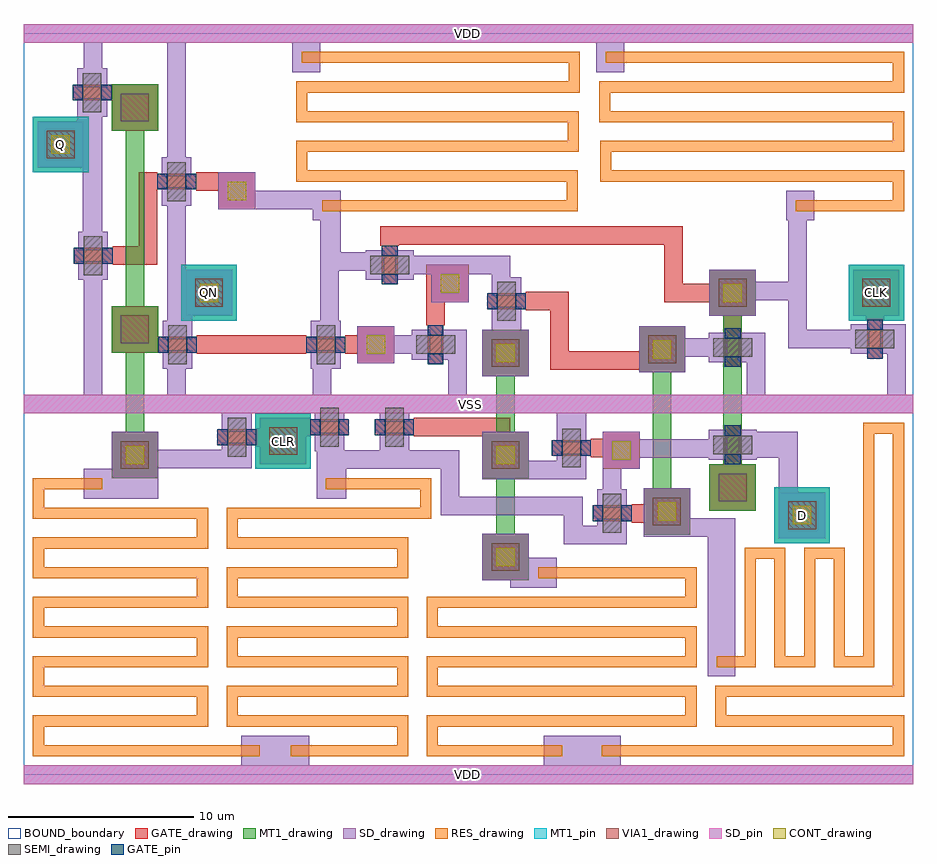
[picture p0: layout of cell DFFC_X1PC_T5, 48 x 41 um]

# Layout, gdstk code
from math import pi, radians
import gdstk
lib = gdstk.Library(unit=1e-6, precision=1e-09)
def R(c, l, rs):  # rectangles x0, y0, x1, y1
    for r in rs: c.add(gdstk.rectangle(r[:2], r[2:], *l))
def A(c, l, x, y, w, h, nx, ny, dx, dy):  # array of equal rectangles
    R(c, l, [(x+i*dx, y+j*dy, x+i*dx+w, y+j*dy+h) for i in range(nx) for j in range(ny)])
def P(c, l, *ps):  # polygons
    for p in ps: c.add(gdstk.Polygon(p, *l))
RES_drawing = (1, 0)
SEMI_drawing = (3, 0)
SD_drawing = (10, 0)
SD_pin = (10, 3)
GATE_drawing = (11, 0)
GATE_pin = (11, 3)
MT1_drawing = (20, 0)
MT1_pin = (20, 3)
CONT_drawing = (30, 0)
VIA1_drawing = (41, 0)
BOUND_boundary = (150, 5)

nch_cdns_772544920610 = lib.new_cell('nch_CDNS_772544920610')
R(nch_cdns_772544920610, SEMI_drawing, [(-1.05,-0.5,1.05,0.5)])
R(nch_cdns_772544920610, SD_drawing, [(-1.3,-0.8,-0.3,0.8), (0.3,-0.8,1.3,0.8)])
R(nch_cdns_772544920610, GATE_drawing, [(-0.425,-1.05,0.425,1.05)])
R(nch_cdns_772544920610, GATE_pin, [(-0.425,-1.05,0.425,-0.5), (-0.425,0.5,0.425,1.05)])

sd_gate_cdns_77254492061 = lib.new_cell('SD_GATE_CDNS_772544920610')
R(sd_gate_cdns_77254492061, SD_drawing, [(-1.25,-1.25,1.25,1.25)])
R(sd_gate_cdns_77254492061, GATE_drawing, [(-1.25,-1.25,1.25,1.25)])
R(sd_gate_cdns_77254492061, CONT_drawing, [(-0.5,-0.5,0.5,0.5)])

gate_mt1_cdns_7725449206 = lib.new_cell('GATE_MT1_CDNS_772544920611')
R(gate_mt1_cdns_7725449206, GATE_drawing, [(-1.25,-1.25,1.25,1.25)])
R(gate_mt1_cdns_7725449206, MT1_drawing, [(-1.5,-1.5,1.5,1.5)])
R(gate_mt1_cdns_7725449206, VIA1_drawing, [(-0.75,-0.75,0.75,0.75)])

c_gate_mt1_cdns_7725449206 = lib.new_cell('GATE_MT1_CDNS_772544920612')
R(c_gate_mt1_cdns_7725449206, GATE_drawing, [(-1.25,-1.25,1.25,1.25)])
R(c_gate_mt1_cdns_7725449206, MT1_drawing, [(-1.25,-1.25,1.25,1.25)])
R(c_gate_mt1_cdns_7725449206, VIA1_drawing, [(-0.75,-0.75,0.75,0.75)])

c_sd_gate_cdns_77254492061 = lib.new_cell('SD_GATE_CDNS_772544920613')
R(c_sd_gate_cdns_77254492061, SD_drawing, [(-1,-1,1,1)])
R(c_sd_gate_cdns_77254492061, GATE_drawing, [(-1,-1,1,1)])
R(c_sd_gate_cdns_77254492061, CONT_drawing, [(-0.5,-0.5,0.5,0.5)])

dffc_x1pc_t5 = lib.new_cell('DFFC_X1PC_T5')
A(dffc_x1pc_t5, SD_drawing, 0, -0.5, 48, 1, 1, 3, 0, 20)
R(dffc_x1pc_t5, SD_drawing, [(11.75,0.5,13.85,2.1), (13.55,0.5,15.4,2.1), (28.05,0.5,29.55,2.1), (29.55,0.5,32.2,2.1), (3.25,14.9,7.25,16.5), (15.8,14.9,17.4,16.5), (31.25,15.4,32.25,17.3), (24.75,15.95,30.35,16.95), (15.8,16.5,17.2,17.45), (31.25,17.1,36.95,18.1), (28.75,18.925,30.35,19.5), (3.25,20.5,4.25,26.7), (7.75,20.5,8.75,21.95), (15.6,20.5,16.6,21.9), (46.6,20.5,47.6,24.3), (25.25,23.9,26.85,24.35), (15.6,29.9,17.1,31.5), (41.15,29.9,42.65,31.5), (7.75,33.3,8.75,39.5), (14.5,37.9,16,39.5), (30.9,37.9,32.4,39.5), (3.25,38.1,4.25,39.5)])
P(dffc_x1pc_t5, SD_drawing, [(41.75,15.25),(41.75,18.5),(39.55,18.5),(39.55,17.1),(40.75,17.1),(40.75,15.25)],
  [(32.55,13.425),(30.15,13.425),(30.15,15),(23.5,15),(23.5,17.5),(15.8,17.5),(15.8,16.5),(22.5,16.5),(22.5,14),(29.15,14),(29.15,12.425),(32.55,12.425)],
  [(4.25,35.5),(2.9,35.5),(2.9,35.25),(3.2,35.25),(3.2,29.3),(4.25,29.3)],
  [(44.625,24),(42.25,24),(42.25,26.6),(38.35,26.6),(38.35,25.6),(41.25,25.6),(41.25,23),(44.625,23)],
  [(9.1,24.75),(8.75,24.75),(8.75,30.7),(7.75,30.7),(7.75,24.5),(9.1,24.5)],
  [(38.4,13.85),(35.95,13.85),(35.95,14.35),(33.45,14.35),(33.45,12.85),(36.9,12.85),(36.9,5.3),(38.4,5.3)],
  [(40,23.85),(39.55,23.85),(39.55,22.35),(39,22.35),(39,20.25),(40,20.25)],
  [(18.45,28.2),(17.1,28.2),(17.1,31.5),(12.5,31.5),(12.5,30.5),(16,30.5),(16,24.5),(17,24.5),(17,27.2),(18.45,27.2)],
  [(28.75,11.7),(27.25,11.7),(27.25,12.25),(26,12.25),(26,11.25),(26.25,11.25),(26.25,10.1),(28.75,10.1)],
  [(12.3,16.9),(10.7,16.9),(10.7,17.525),(5.9,17.525),(5.9,16.525),(12.3,16.525)])
A(dffc_x1pc_t5, SD_pin, 0, -0.5, 48, 1, 1, 3, 0, 20)
R(dffc_x1pc_t5, GATE_drawing, [(12.55,17.7,12.75,18.7), (15.25,18.25,15.45,19.25), (7.15,22.825,7.3,23.575), (4.7,36.425,4.85,37.175)])
P(dffc_x1pc_t5, GATE_drawing, [(46.425,24.65),(45.425,24.65),(45.425,24.55),(45.55,24.55),(45.55,24.5),(46.3,24.5),(46.3,24.55),(46.425,24.55)],
  [(32.9,13.6),(32.9,14.6),(32.8,14.6),(32.8,14.475),(32.75,14.475),(32.75,13.725),(32.8,13.725),(32.8,13.6)],
  [(37.725,16.65),(38.725,16.65),(38.725,16.75),(38.625,16.75),(38.625,16.8),(37.875,16.8),(37.875,16.75),(37.725,16.75)],
  [(30.7,17.125),(30.7,18.125),(30.6,18.125),(30.6,18),(30.55,18),(30.55,17.25),(30.6,17.25),(30.6,17.125)],
  [(21.15,18.25),(21.15,19.25),(21.05,19.25),(21.05,19.125),(21,19.125),(21,18.375),(21.05,18.375),(21.05,18.25)],
  [(15.35,18.25),(15.35,19.25),(15.45,19.25),(15.45,19.125),(15.5,19.125),(15.5,18.375),(15.45,18.375),(15.45,18.25)],
  [(12.65,17.7),(12.65,18.7),(12.55,18.7),(12.55,18.575),(12.5,18.575),(12.5,17.825),(12.55,17.825),(12.55,17.7)],
  [(38.75,24.2),(37.75,24.2),(37.75,24.1),(37.875,24.1),(37.875,24.05),(38.625,24.05),(38.625,24.1),(38.75,24.1)],
  [(27.2,25.05),(27.2,26.05),(27.1,26.05),(27.1,25.925),(27.05,25.925),(27.05,25.175),(27.1,25.175),(27.1,25.05)],
  [(22.725,24.35),(21.725,24.35),(21.725,24.25),(21.85,24.25),(21.85,24.2),(22.6,24.2),(22.6,24.25),(22.725,24.25)],
  [(20.25,28.65),(19.25,28.65),(19.25,28.55),(19.375,28.55),(19.375,28.5),(20.125,28.5),(20.125,28.55),(20.25,28.55)],
  [(26.25,19.25),(21.15,19.25),(21.15,18.25),(25.25,18.25),(25.25,17.25),(26.25,17.25)],
  [(4.8,27.5),(7.2,27.5),(7.2,32.5),(6.2,32.5),(6.2,28.5),(4.8,28.5)],
  [(4.9,27.5),(4.9,28.5),(4.8,28.5),(4.8,28.375),(4.75,28.375),(4.75,27.625),(4.8,27.625),(4.8,27.5)],
  [(9.4,31.5),(9.4,32.5),(9.3,32.5),(9.3,32.375),(9.25,32.375),(9.25,31.625),(9.3,31.625),(9.3,31.5)],
  [(9.45,22.7),(9.45,23.7),(9.35,23.7),(9.35,23.575),(9.3,23.575),(9.3,22.825),(9.35,22.825),(9.35,22.7)],
  [(15.15,22.7),(15.15,23.7),(15.25,23.7),(15.25,23.575),(15.3,23.575),(15.3,22.825),(15.25,22.825),(15.25,22.7)],
  [(7.1,32.5),(7.1,31.525),(7.2,31.525),(7.2,31.625),(7.25,31.625),(7.25,32.375),(7.2,32.375),(7.2,32.5)],
  [(17.45,22.7),(17.45,23.7),(17.35,23.7),(17.35,23.575),(17.3,23.575),(17.3,22.825),(17.35,22.825),(17.35,22.7)])
R(dffc_x1pc_t5, MT1_drawing, [(40.5,12.5,43.5,15.5), (40.5,12.5,43.5,15.5), (40.5,12.5,43.5,15.5), (40.5,12.5,43.5,15.5), (40.5,12.5,43.5,15.5), (12.5,16.5,15.5,19.5), (12.5,16.5,15.5,19.5), (12.5,16.5,15.5,19.5), (12.5,16.5,15.5,19.5), (12.5,16.5,15.5,19.5), (8.5,24.5,11.5,27.5), (8.5,24.5,11.5,27.5), (8.5,24.5,11.5,27.5), (8.5,24.5,11.5,27.5), (8.5,24.5,11.5,27.5), (44.5,24.5,47.5,27.5), (44.5,24.5,47.5,27.5), (44.5,24.5,47.5,27.5), (44.5,24.5,47.5,27.5), (44.5,24.5,47.5,27.5), (0.5,32.5,3.5,35.5), (0.5,32.5,3.5,35.5)])
R(dffc_x1pc_t5, MT1_pin, [(40.5,12.5,43.5,15.5), (40.5,12.5,43.5,15.5), (40.5,12.5,43.5,15.5), (40.5,12.5,43.5,15.5), (40.5,12.5,43.5,15.5), (12.5,16.5,15.5,19.5), (12.5,16.5,15.5,19.5), (12.5,16.5,15.5,19.5), (12.5,16.5,15.5,19.5), (12.5,16.5,15.5,19.5), (8.5,24.5,11.5,27.5), (8.5,24.5,11.5,27.5), (8.5,24.5,11.5,27.5), (8.5,24.5,11.5,27.5), (8.5,24.5,11.5,27.5), (44.5,24.5,47.5,27.5), (44.5,24.5,47.5,27.5), (44.5,24.5,47.5,27.5), (44.5,24.5,47.5,27.5), (44.5,24.5,47.5,27.5), (0.5,32.5,3.5,35.5), (0.5,32.5,3.5,35.5)])
R(dffc_x1pc_t5, BOUND_boundary, [(0,0,48,40)])
dffc_x1pc_t5.add(gdstk.FlexPath([(18.8,23.2),(20.925,23.2)], 1, ends="flush", simple_path=True, layer=10, datatype=0))  # SD_drawing
dffc_x1pc_t5.add(gdstk.FlexPath([(36.95,23.05),(35.7,23.05)], 1, ends="flush", simple_path=True, layer=10, datatype=0))  # SD_drawing
dffc_x1pc_t5.add(gdstk.FlexPath([(25.75,26.65),(25.75,27.5),(21.05,27.5)], 1, ends="flush", simple_path=True, layer=10, datatype=0))  # SD_drawing
dffc_x1pc_t5.add(gdstk.FlexPath([(23.4,24),(23.4,20.5)], 1, ends="flush", simple_path=True, layer=10, datatype=0))  # SD_drawing
dffc_x1pc_t5.add(gdstk.FlexPath([(41.75,26.05),(41.75,30.2)], 1, ends="flush", simple_path=True, layer=10, datatype=0))  # SD_drawing
dffc_x1pc_t5.add(gdstk.FlexPath([(31.2,1.3),(47.2,1.3),(47.2,2.9),(37.6,2.9),(37.6,4.5),(47.2,4.5),(47.2,18.7),(45.6,18.7),(45.6,6.1),(44,6.1),(44,11.95),(42.4,11.95),(42.4,6.1),(40.8,6.1),(40.8,11.95),(39.2,11.95),(39.2,6.1),(37.4,6.1)], 0.6, ends="flush", simple_path=True, layer=1, datatype=0))  # RES_drawing
dffc_x1pc_t5.add(gdstk.FlexPath([(16.3,15.7),(21.7,15.7),(21.7,14.1),(11.25,14.1),(11.25,12.5),(20.45,12.5),(20.45,10.9),(11.25,10.9),(11.25,9.3),(20.45,9.3),(20.45,7.7),(11.25,7.7),(11.25,6.1),(20.45,6.1),(20.45,4.5),(11.25,4.5),(11.25,2.9),(20.45,2.9),(20.45,1.3),(14.4,1.3)], 0.6, ends="flush", simple_path=True, layer=1, datatype=0))  # RES_drawing
dffc_x1pc_t5.add(gdstk.FlexPath([(16,38.7),(29.7,38.7),(29.7,37.1),(15,37.1),(15,35.5),(29.65,35.5),(29.65,33.9),(15,33.9),(15,32.3),(29.6,32.3),(29.6,30.7),(17.1,30.7)], 0.6, ends=(1, 1), simple_path=True, layer=1, datatype=0))  # RES_drawing
dffc_x1pc_t5.add(gdstk.FlexPath([(32.4,38.7),(47.2,38.7),(47.2,37.1),(31.35,37.1),(31.35,35.5),(47.2,35.5),(47.2,33.9),(31.4,33.9),(31.4,32.3),(47.2,32.3),(47.2,30.7),(41.65,30.7)], 0.6, ends=(1, 0), simple_path=True, layer=1, datatype=0))  # RES_drawing
dffc_x1pc_t5.add(gdstk.FlexPath([(28.75,10.9),(36,10.9),(36,9.3),(22.05,9.3),(22.05,7.7),(36,7.7),(36,6.1),(22.05,6.1),(22.05,4.5),(36,4.5),(36,2.9),(22.05,2.9),(22.05,1.3),(28.05,1.3)], 0.6, ends=(1, 1), simple_path=True, layer=1, datatype=0))  # RES_drawing
dffc_x1pc_t5.add(gdstk.FlexPath([(12.75,1.3),(0.8,1.3),(0.8,2.9),(9.65,2.9),(9.65,4.5),(0.8,4.5),(0.8,6.1),(9.65,6.1),(9.65,7.7),(0.8,7.7),(0.8,9.3),(9.65,9.3),(9.65,10.9),(0.8,10.9),(0.8,12.5),(9.65,12.5),(9.65,14.1),(0.8,14.1),(0.8,15.7),(4.25,15.7)], 0.6, ends="flush", simple_path=True, layer=1, datatype=0))  # RES_drawing
dffc_x1pc_t5.add(gdstk.FlexPath([(18.8,23.2),(17.45,23.2)], 1, ends="flush", simple_path=True, layer=11, datatype=0))  # GATE_drawing
dffc_x1pc_t5.add(gdstk.FlexPath([(22.225,24.25),(22.225,27.5)], 1, ends="flush", simple_path=True, layer=11, datatype=0))  # GATE_drawing
dffc_x1pc_t5.add(gdstk.FlexPath([(27.15,25.55),(28.9,25.55)], 1, ends=(0, 0.5), simple_path=True, layer=11, datatype=0))  # GATE_drawing
dffc_x1pc_t5.add(gdstk.FlexPath([(28.9,22.35),(33.2,22.35)], 1, ends=(0.5, 0), simple_path=True, layer=11, datatype=0))  # GATE_drawing
dffc_x1pc_t5.add(gdstk.FlexPath([(28.9,25.55),(28.9,22.35)], 1, ends="extended", simple_path=True, layer=11, datatype=0))  # GATE_drawing
dffc_x1pc_t5.add(gdstk.FlexPath([(19.8,29.1),(35.05,29.1),(35.05,26),(38.25,26),(38.25,24.2)], 1, ends="flush", simple_path=True, layer=11, datatype=0))  # GATE_drawing
dffc_x1pc_t5.add(gdstk.FlexPath([(19.75,29.1),(19.8,29.1)], 1, ends=(0.5, 0), simple_path=True, layer=11, datatype=0))  # GATE_drawing
dffc_x1pc_t5.add(gdstk.FlexPath([(38.25,16.75),(38.25,15.4)], 1, ends="flush", simple_path=True, layer=11, datatype=0))  # GATE_drawing
dffc_x1pc_t5.add(gdstk.FlexPath([(9.3,32),(10.5,32)], 1, ends="flush", simple_path=True, layer=11, datatype=0))  # GATE_drawing
dffc_x1pc_t5.add(gdstk.FlexPath([(45.925,24.55),(45.925,24.75)], 1, ends="flush", simple_path=True, layer=11, datatype=0))  # GATE_drawing
dffc_x1pc_t5.add(gdstk.FlexPath([(30.6,17.625),(31.25,17.625)], 1, ends="flush", simple_path=True, layer=11, datatype=0))  # GATE_drawing
dffc_x1pc_t5.add(gdstk.FlexPath([(9.45,23.2),(15.15,23.2)], 1, ends="flush", simple_path=True, layer=11, datatype=0))  # GATE_drawing
dffc_x1pc_t5.add(gdstk.FlexPath([(32.8,14.1),(33.5,14.1)], 1, ends="flush", simple_path=True, layer=11, datatype=0))  # GATE_drawing
dffc_x1pc_t5.add(gdstk.FlexPath([(19.75,28.55),(19.75,29.1)], 1, ends=(0, 0.5), simple_path=True, layer=11, datatype=0))  # GATE_drawing
dffc_x1pc_t5.add(gdstk.FlexPath([(38.25,26),(38.25,15.35)], 1, ends="flush", simple_path=True, layer=20, datatype=0))  # MT1_drawing
dffc_x1pc_t5.add(gdstk.FlexPath([(34.45,22.95),(34.45,14)], 1, ends="flush", simple_path=True, layer=20, datatype=0))  # MT1_drawing
dffc_x1pc_t5.add(gdstk.FlexPath([(26,11.75),(26,11)], 1, ends="flush", simple_path=True, layer=20, datatype=0))  # MT1_drawing
dffc_x1pc_t5.add(gdstk.FlexPath([(26,17.25),(26,11.75)], 1, ends="flush", simple_path=True, layer=20, datatype=0))  # MT1_drawing
dffc_x1pc_t5.add(gdstk.FlexPath([(26,22.75),(26,17.25)], 1, ends="flush", simple_path=True, layer=20, datatype=0))  # MT1_drawing
dffc_x1pc_t5.add(gdstk.FlexPath([(6,36),(6,17.15)], 1, ends="flush", simple_path=True, layer=20, datatype=0))  # MT1_drawing
dffc_x1pc_t5.add(gdstk.Reference(nch_cdns_772544920610, (26.05,25.55), rotation=3*pi/2, x_reflection=True))
dffc_x1pc_t5.add(gdstk.Reference(nch_cdns_772544920610, (22.225,23.2), rotation=pi))
dffc_x1pc_t5.add(gdstk.Reference(nch_cdns_772544920610, (16.3,23.2), rotation=pi/2))
dffc_x1pc_t5.add(gdstk.Reference(nch_cdns_772544920610, (8.3,23.2), rotation=pi/2))
dffc_x1pc_t5.add(gdstk.Reference(nch_cdns_772544920610, (38.25,17.8)))
dffc_x1pc_t5.add(gdstk.Reference(nch_cdns_772544920610, (20,18.75), rotation=3*pi/2))
dffc_x1pc_t5.add(gdstk.Reference(nch_cdns_772544920610, (16.5,18.75), rotation=3*pi/2, x_reflection=True))
dffc_x1pc_t5.add(gdstk.Reference(nch_cdns_772544920610, (11.5,18.2), rotation=3*pi/2))
dffc_x1pc_t5.add(gdstk.Reference(nch_cdns_772544920610, (38.25,23.05), rotation=pi))
dffc_x1pc_t5.add(gdstk.Reference(nch_cdns_772544920610, (19.75,27.5)))
dffc_x1pc_t5.add(gdstk.Reference(nch_cdns_772544920610, (31.75,14.1), rotation=pi/2))
dffc_x1pc_t5.add(gdstk.Reference(nch_cdns_772544920610, (29.55,17.625), rotation=3*pi/2))
dffc_x1pc_t5.add(gdstk.Reference(nch_cdns_772544920610, (45.925,23.5), rotation=pi, x_reflection=True))
dffc_x1pc_t5.add(gdstk.Reference(nch_cdns_772544920610, (3.75,28), rotation=pi/2))
dffc_x1pc_t5.add(gdstk.Reference(nch_cdns_772544920610, (8.25,32), rotation=pi/2))
dffc_x1pc_t5.add(gdstk.Reference(nch_cdns_772544920610, (3.7,36.8), rotation=pi/2))
dffc_x1pc_t5.add(gdstk.Reference(sd_gate_cdns_77254492061, (34.45,22.95)))
dffc_x1pc_t5.add(gdstk.Reference(sd_gate_cdns_77254492061, (26,22.75)))
dffc_x1pc_t5.add(gdstk.Reference(sd_gate_cdns_77254492061, (2,34)))
dffc_x1pc_t5.add(gdstk.Reference(sd_gate_cdns_77254492061, (10,26)))
dffc_x1pc_t5.add(gdstk.Reference(sd_gate_cdns_77254492061, (42,14)))
dffc_x1pc_t5.add(gdstk.Reference(sd_gate_cdns_77254492061, (34.7,14.2)))
dffc_x1pc_t5.add(gdstk.Reference(sd_gate_cdns_77254492061, (26,11.75)))
dffc_x1pc_t5.add(gdstk.Reference(sd_gate_cdns_77254492061, (26,17.25)))
dffc_x1pc_t5.add(gdstk.Reference(sd_gate_cdns_77254492061, (6,17.25)))
dffc_x1pc_t5.add(gdstk.Reference(sd_gate_cdns_77254492061, (42,14)))
dffc_x1pc_t5.add(gdstk.Reference(sd_gate_cdns_77254492061, (38.25,26)))
dffc_x1pc_t5.add(gdstk.Reference(sd_gate_cdns_77254492061, (34.7,14.2)))
dffc_x1pc_t5.add(gdstk.Reference(sd_gate_cdns_77254492061, (34.45,22.95)))
dffc_x1pc_t5.add(gdstk.Reference(sd_gate_cdns_77254492061, (26,22.75)))
dffc_x1pc_t5.add(gdstk.Reference(sd_gate_cdns_77254492061, (26,11.75)))
dffc_x1pc_t5.add(gdstk.Reference(sd_gate_cdns_77254492061, (26,17.25)))
dffc_x1pc_t5.add(gdstk.Reference(sd_gate_cdns_77254492061, (10,26)))
dffc_x1pc_t5.add(gdstk.Reference(sd_gate_cdns_77254492061, (6,17.25)))
dffc_x1pc_t5.add(gdstk.Reference(sd_gate_cdns_77254492061, (42,14)))
dffc_x1pc_t5.add(gdstk.Reference(sd_gate_cdns_77254492061, (38.25,26)))
dffc_x1pc_t5.add(gdstk.Reference(sd_gate_cdns_77254492061, (34.7,14.2)))
dffc_x1pc_t5.add(gdstk.Reference(sd_gate_cdns_77254492061, (34.45,22.95)))
dffc_x1pc_t5.add(gdstk.Reference(sd_gate_cdns_77254492061, (26,22.75)))
dffc_x1pc_t5.add(gdstk.Reference(sd_gate_cdns_77254492061, (26,11.75)))
dffc_x1pc_t5.add(gdstk.Reference(sd_gate_cdns_77254492061, (26,17.25)))
dffc_x1pc_t5.add(gdstk.Reference(sd_gate_cdns_77254492061, (10,26)))
dffc_x1pc_t5.add(gdstk.Reference(sd_gate_cdns_77254492061, (6,17.25)))
dffc_x1pc_t5.add(gdstk.Reference(sd_gate_cdns_77254492061, (42,14)))
dffc_x1pc_t5.add(gdstk.Reference(sd_gate_cdns_77254492061, (38.25,26)))
dffc_x1pc_t5.add(gdstk.Reference(sd_gate_cdns_77254492061, (34.7,14.2)))
dffc_x1pc_t5.add(gdstk.Reference(sd_gate_cdns_77254492061, (34.45,22.95)))
dffc_x1pc_t5.add(gdstk.Reference(sd_gate_cdns_77254492061, (26,22.75)))
dffc_x1pc_t5.add(gdstk.Reference(sd_gate_cdns_77254492061, (26,11.75)))
dffc_x1pc_t5.add(gdstk.Reference(sd_gate_cdns_77254492061, (26,17.25)))
dffc_x1pc_t5.add(gdstk.Reference(sd_gate_cdns_77254492061, (10,26)))
dffc_x1pc_t5.add(gdstk.Reference(sd_gate_cdns_77254492061, (6,17.25)))
dffc_x1pc_t5.add(gdstk.Reference(sd_gate_cdns_77254492061, (26,22.75)))
dffc_x1pc_t5.add(gdstk.Reference(sd_gate_cdns_77254492061, (38.25,26)))
dffc_x1pc_t5.add(gdstk.Reference(sd_gate_cdns_77254492061, (26,11.75)))
dffc_x1pc_t5.add(gdstk.Reference(sd_gate_cdns_77254492061, (42,14)))
dffc_x1pc_t5.add(gdstk.Reference(sd_gate_cdns_77254492061, (34.45,22.95)))
dffc_x1pc_t5.add(gdstk.Reference(sd_gate_cdns_77254492061, (34.7,14.2)))
dffc_x1pc_t5.add(gdstk.Reference(sd_gate_cdns_77254492061, (26,17.25)))
dffc_x1pc_t5.add(gdstk.Reference(sd_gate_cdns_77254492061, (6,17.25)))
dffc_x1pc_t5.add(gdstk.Reference(sd_gate_cdns_77254492061, (10,26)))
dffc_x1pc_t5.add(gdstk.Reference(gate_mt1_cdns_7725449206, (2,34)))
dffc_x1pc_t5.add(gdstk.Reference(gate_mt1_cdns_7725449206, (10,26)))
dffc_x1pc_t5.add(gdstk.Reference(gate_mt1_cdns_7725449206, (14,18)))
dffc_x1pc_t5.add(gdstk.Reference(gate_mt1_cdns_7725449206, (42,14)))
dffc_x1pc_t5.add(gdstk.Reference(gate_mt1_cdns_7725449206, (46,26)))
dffc_x1pc_t5.add(gdstk.Reference(gate_mt1_cdns_7725449206, (46,26)))
dffc_x1pc_t5.add(gdstk.Reference(gate_mt1_cdns_7725449206, (14,18)))
dffc_x1pc_t5.add(gdstk.Reference(gate_mt1_cdns_7725449206, (42,14)))
dffc_x1pc_t5.add(gdstk.Reference(gate_mt1_cdns_7725449206, (10,26)))
dffc_x1pc_t5.add(gdstk.Reference(gate_mt1_cdns_7725449206, (46,26)))
dffc_x1pc_t5.add(gdstk.Reference(gate_mt1_cdns_7725449206, (14,18)))
dffc_x1pc_t5.add(gdstk.Reference(gate_mt1_cdns_7725449206, (42,14)))
dffc_x1pc_t5.add(gdstk.Reference(gate_mt1_cdns_7725449206, (10,26)))
dffc_x1pc_t5.add(gdstk.Reference(gate_mt1_cdns_7725449206, (46,26)))
dffc_x1pc_t5.add(gdstk.Reference(gate_mt1_cdns_7725449206, (14,18)))
dffc_x1pc_t5.add(gdstk.Reference(gate_mt1_cdns_7725449206, (42,14)))
dffc_x1pc_t5.add(gdstk.Reference(gate_mt1_cdns_7725449206, (10,26)))
dffc_x1pc_t5.add(gdstk.Reference(gate_mt1_cdns_7725449206, (14,18)))
dffc_x1pc_t5.add(gdstk.Reference(gate_mt1_cdns_7725449206, (46,26)))
dffc_x1pc_t5.add(gdstk.Reference(gate_mt1_cdns_7725449206, (42,14)))
dffc_x1pc_t5.add(gdstk.Reference(gate_mt1_cdns_7725449206, (10,26)))
dffc_x1pc_t5.add(gdstk.Reference(c_gate_mt1_cdns_7725449206, (34.45,22.95)))
dffc_x1pc_t5.add(gdstk.Reference(c_gate_mt1_cdns_7725449206, (26,22.75)))
dffc_x1pc_t5.add(gdstk.Reference(c_gate_mt1_cdns_7725449206, (6,36)))
dffc_x1pc_t5.add(gdstk.Reference(c_gate_mt1_cdns_7725449206, (6,24.025)))
dffc_x1pc_t5.add(gdstk.Reference(c_gate_mt1_cdns_7725449206, (38.25,15.5)))
dffc_x1pc_t5.add(gdstk.Reference(c_gate_mt1_cdns_7725449206, (34.7,14.2)))
dffc_x1pc_t5.add(gdstk.Reference(c_gate_mt1_cdns_7725449206, (26,11.75)))
dffc_x1pc_t5.add(gdstk.Reference(c_gate_mt1_cdns_7725449206, (26,17.25)))
dffc_x1pc_t5.add(gdstk.Reference(c_gate_mt1_cdns_7725449206, (6,17.25)))
dffc_x1pc_t5.add(gdstk.Reference(c_gate_mt1_cdns_7725449206, (38.25,15.5)))
dffc_x1pc_t5.add(gdstk.Reference(c_gate_mt1_cdns_7725449206, (6,36)))
dffc_x1pc_t5.add(gdstk.Reference(c_gate_mt1_cdns_7725449206, (6,24.025)))
dffc_x1pc_t5.add(gdstk.Reference(c_gate_mt1_cdns_7725449206, (38.25,26)))
dffc_x1pc_t5.add(gdstk.Reference(c_gate_mt1_cdns_7725449206, (34.7,14.2)))
dffc_x1pc_t5.add(gdstk.Reference(c_gate_mt1_cdns_7725449206, (34.45,22.95)))
dffc_x1pc_t5.add(gdstk.Reference(c_gate_mt1_cdns_7725449206, (26,22.75)))
dffc_x1pc_t5.add(gdstk.Reference(c_gate_mt1_cdns_7725449206, (26,11.75)))
dffc_x1pc_t5.add(gdstk.Reference(c_gate_mt1_cdns_7725449206, (26,17.25)))
dffc_x1pc_t5.add(gdstk.Reference(c_gate_mt1_cdns_7725449206, (6,17.25)))
dffc_x1pc_t5.add(gdstk.Reference(c_gate_mt1_cdns_7725449206, (38.25,15.5)))
dffc_x1pc_t5.add(gdstk.Reference(c_gate_mt1_cdns_7725449206, (6,36)))
dffc_x1pc_t5.add(gdstk.Reference(c_gate_mt1_cdns_7725449206, (6,24.025)))
dffc_x1pc_t5.add(gdstk.Reference(c_gate_mt1_cdns_7725449206, (38.25,26)))
dffc_x1pc_t5.add(gdstk.Reference(c_gate_mt1_cdns_7725449206, (34.7,14.2)))
dffc_x1pc_t5.add(gdstk.Reference(c_gate_mt1_cdns_7725449206, (34.45,22.95)))
dffc_x1pc_t5.add(gdstk.Reference(c_gate_mt1_cdns_7725449206, (26,22.75)))
dffc_x1pc_t5.add(gdstk.Reference(c_gate_mt1_cdns_7725449206, (26,11.75)))
dffc_x1pc_t5.add(gdstk.Reference(c_gate_mt1_cdns_7725449206, (26,17.25)))
dffc_x1pc_t5.add(gdstk.Reference(c_gate_mt1_cdns_7725449206, (6,17.25)))
dffc_x1pc_t5.add(gdstk.Reference(c_gate_mt1_cdns_7725449206, (38.25,15.5)))
dffc_x1pc_t5.add(gdstk.Reference(c_gate_mt1_cdns_7725449206, (6,36)))
dffc_x1pc_t5.add(gdstk.Reference(c_gate_mt1_cdns_7725449206, (6,24.025)))
dffc_x1pc_t5.add(gdstk.Reference(c_gate_mt1_cdns_7725449206, (38.25,26)))
dffc_x1pc_t5.add(gdstk.Reference(c_gate_mt1_cdns_7725449206, (34.7,14.2)))
dffc_x1pc_t5.add(gdstk.Reference(c_gate_mt1_cdns_7725449206, (34.45,22.95)))
dffc_x1pc_t5.add(gdstk.Reference(c_gate_mt1_cdns_7725449206, (26,22.75)))
dffc_x1pc_t5.add(gdstk.Reference(c_gate_mt1_cdns_7725449206, (26,11.75)))
dffc_x1pc_t5.add(gdstk.Reference(c_gate_mt1_cdns_7725449206, (26,17.25)))
dffc_x1pc_t5.add(gdstk.Reference(c_gate_mt1_cdns_7725449206, (6,17.25)))
dffc_x1pc_t5.add(gdstk.Reference(c_gate_mt1_cdns_7725449206, (6,17.25)))
dffc_x1pc_t5.add(gdstk.Reference(c_gate_mt1_cdns_7725449206, (6,24.025)))
dffc_x1pc_t5.add(gdstk.Reference(c_gate_mt1_cdns_7725449206, (6,36)))
dffc_x1pc_t5.add(gdstk.Reference(c_gate_mt1_cdns_7725449206, (38.25,15.5)))
dffc_x1pc_t5.add(gdstk.Reference(c_gate_mt1_cdns_7725449206, (26,11.75)))
dffc_x1pc_t5.add(gdstk.Reference(c_gate_mt1_cdns_7725449206, (34.45,22.95)))
dffc_x1pc_t5.add(gdstk.Reference(c_gate_mt1_cdns_7725449206, (26,17.25)))
dffc_x1pc_t5.add(gdstk.Reference(c_gate_mt1_cdns_7725449206, (26,22.75)))
dffc_x1pc_t5.add(gdstk.Reference(c_gate_mt1_cdns_7725449206, (34.7,14.2)))
dffc_x1pc_t5.add(gdstk.Reference(c_gate_mt1_cdns_7725449206, (38.25,26)))
dffc_x1pc_t5.add(gdstk.Reference(c_sd_gate_cdns_77254492061, (23,26.5)))
dffc_x1pc_t5.add(gdstk.Reference(c_sd_gate_cdns_77254492061, (19,23.2)))
dffc_x1pc_t5.add(gdstk.Reference(c_sd_gate_cdns_77254492061, (11.5,31.5)))
dffc_x1pc_t5.add(gdstk.Reference(c_sd_gate_cdns_77254492061, (32.25,17.5)))
dffc_x1pc_t5.add(gdstk.Reference(c_sd_gate_cdns_77254492061, (32.25,17.5)))
dffc_x1pc_t5.add(gdstk.Reference(c_sd_gate_cdns_77254492061, (23,26.5)))
dffc_x1pc_t5.add(gdstk.Reference(c_sd_gate_cdns_77254492061, (19,23.2)))
dffc_x1pc_t5.add(gdstk.Reference(c_sd_gate_cdns_77254492061, (11.5,31.5)))
dffc_x1pc_t5.add(gdstk.Reference(c_sd_gate_cdns_77254492061, (32.25,17.5)))
dffc_x1pc_t5.add(gdstk.Reference(c_sd_gate_cdns_77254492061, (23,26.5)))
dffc_x1pc_t5.add(gdstk.Reference(c_sd_gate_cdns_77254492061, (19,23.2)))
dffc_x1pc_t5.add(gdstk.Reference(c_sd_gate_cdns_77254492061, (11.5,31.5)))
dffc_x1pc_t5.add(gdstk.Reference(c_sd_gate_cdns_77254492061, (32.25,17.5)))
dffc_x1pc_t5.add(gdstk.Reference(c_sd_gate_cdns_77254492061, (23,26.5)))
dffc_x1pc_t5.add(gdstk.Reference(c_sd_gate_cdns_77254492061, (19,23.2)))
dffc_x1pc_t5.add(gdstk.Reference(c_sd_gate_cdns_77254492061, (11.5,31.5)))
dffc_x1pc_t5.add(gdstk.Reference(c_sd_gate_cdns_77254492061, (11.5,31.5)))
dffc_x1pc_t5.add(gdstk.Reference(c_sd_gate_cdns_77254492061, (23,26.5)))
dffc_x1pc_t5.add(gdstk.Reference(c_sd_gate_cdns_77254492061, (19,23.2)))
dffc_x1pc_t5.add(gdstk.Reference(c_sd_gate_cdns_77254492061, (32.25,17.5)))
dffc_x1pc_t5.add(gdstk.Label('VDD', (23.95,0), layer=10, texttype=3))
dffc_x1pc_t5.add(gdstk.Label('VSS', (24.1,19.95), layer=10, texttype=3))
dffc_x1pc_t5.add(gdstk.Label('VDD', (23.95,40), layer=10, texttype=3))
dffc_x1pc_t5.add(gdstk.Label('QN', (10,26), layer=20, texttype=3))
dffc_x1pc_t5.add(gdstk.Label('QN', (10,26), layer=20, texttype=3))
dffc_x1pc_t5.add(gdstk.Label('Q', (2,34), layer=20, texttype=3))
dffc_x1pc_t5.add(gdstk.Label('CLK', (46,26), layer=20, texttype=3))
dffc_x1pc_t5.add(gdstk.Label('D', (42,14), layer=20, texttype=3))
dffc_x1pc_t5.add(gdstk.Label('CLK', (46,26), layer=20, texttype=3))
dffc_x1pc_t5.add(gdstk.Label('CLR', (14,18), layer=20, texttype=3))
dffc_x1pc_t5.add(gdstk.Label('CLR', (14,18), layer=20, texttype=3))
dffc_x1pc_t5.add(gdstk.Label('CLK', (46,26), layer=20, texttype=3))
dffc_x1pc_t5.add(gdstk.Label('D', (42,14), layer=20, texttype=3))
dffc_x1pc_t5.add(gdstk.Label('QN', (10,26), layer=20, texttype=3))
dffc_x1pc_t5.add(gdstk.Label('QN', (10,26), layer=20, texttype=3))
dffc_x1pc_t5.add(gdstk.Label('D', (42,14), layer=20, texttype=3))
dffc_x1pc_t5.add(gdstk.Label('D', (42,14), layer=20, texttype=3))
dffc_x1pc_t5.add(gdstk.Label('D', (42,14), layer=20, texttype=3))
dffc_x1pc_t5.add(gdstk.Label('Q', (2,34), layer=20, texttype=3))
dffc_x1pc_t5.add(gdstk.Label('CLR', (14,18), layer=20, texttype=3))
dffc_x1pc_t5.add(gdstk.Label('CLR', (14,18), layer=20, texttype=3))
dffc_x1pc_t5.add(gdstk.Label('CLK', (46,26), layer=20, texttype=3))
dffc_x1pc_t5.add(gdstk.Label('QN', (10,26), layer=20, texttype=3))
dffc_x1pc_t5.add(gdstk.Label('CLR', (14,18), layer=20, texttype=3))
dffc_x1pc_t5.add(gdstk.Label('CLK', (46,26), layer=20, texttype=3))

lib.write_gds('DFFC_X1PC_T5.gds')
